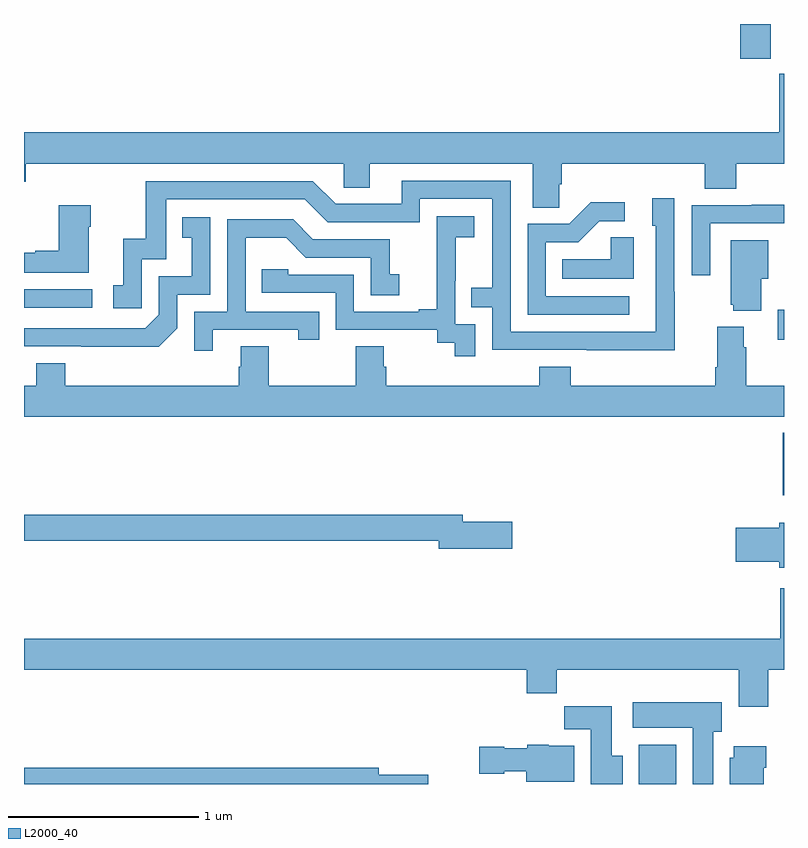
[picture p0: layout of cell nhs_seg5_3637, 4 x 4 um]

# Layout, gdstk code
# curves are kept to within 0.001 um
import gdstk
lib = gdstk.Library(unit=1e-6, precision=1e-09)
def R(c, l, rs):  # rectangles x0, y0, x1, y1
    for r in rs: c.add(gdstk.rectangle(r[:2], r[2:], *l))
def P(c, l, *ps):  # polygons
    for p in ps: c.add(gdstk.Polygon(p, *l))
L2000_40 = (2000, 40)

nhs_seg5_3637 = lib.new_cell('nhs_seg5_3637')
R(nhs_seg5_3637, L2000_40, [(328.235,882.799,328.432,883.006), (328.993,884.318,329,884.647), (328.967,885.138,329,885.294), (325,885.306,325.36,885.402), (328.769,886.617,328.929,886.799)])
P(nhs_seg5_3637, L2000_40, [(327.816,885.955),(327.83,885.955),(327.83,886.064),(328.583,886.064),(328.583,885.931),(328.748,885.931),(328.748,886.064),(329,886.064),(329,886.537),(328.976,886.537),(328.976,886.228),(325,886.228),(325,885.968),(325.01,885.968),(325.01,886.064),(326.682,886.064),(326.682,885.937),(326.821,885.937),(326.821,886.064),(327.677,886.064),(327.677,885.832),(327.816,885.832)],
  [(328.425,885.389),(328.422,885.389),(328.422,885.883),(328.307,885.883),(328.307,885.738),(328.326,885.738),(328.326,885.18),(327.561,885.18),(327.561,885.975),(326.987,885.975),(326.987,885.852),(326.64,885.852),(326.52,885.972),(325.641,885.972),(325.641,885.67),(325.523,885.67),(325.523,885.423),(325.47,885.423),(325.47,885.303),(325.62,885.303),(325.62,885.561),(325.749,885.561),(325.749,885.876),(326.478,885.876),(326.598,885.756),(327.084,885.756),(327.084,885.879),(327.465,885.879),(327.465,885.41),(327.355,885.41),(327.355,885.309),(327.465,885.309),(327.465,885.084),(328.425,885.083)],
  [(328.186,885.366),(327.747,885.366),(327.747,885.651),(327.916,885.651),(328.027,885.762),(328.162,885.762),(328.162,885.86),(327.983,885.86),(327.87,885.747),(327.651,885.747),(327.651,885.27),(328.186,885.27)],
  [(328.611,885.75),(329,885.75),(329,885.848),(328.831,885.848),(328.831,885.846),(328.515,885.846),(328.515,885.477),(328.611,885.477)],
  [(325.342,885.731),(325.35,885.731),(325.35,885.844),(325.184,885.844),(325.184,885.605),(325.058,885.605),(325.058,885.595),(325,885.595),(325,885.491),(325.342,885.491)],
  [(327.375,885.219),(327.27,885.219),(327.27,885.449),(327.272,885.449),(327.272,885.677),(327.37,885.677),(327.37,885.787),(327.172,885.787),(327.172,885.581),(327.173,885.581),(327.173,885.298),(327.077,885.298),(327.077,885.285),(326.736,885.285),(326.736,885.48),(326.391,885.48),(326.391,885.507),(326.251,885.507),(326.251,885.384),(326.64,885.384),(326.64,885.189),(327.174,885.189),(327.174,885.121),(327.267,885.121),(327.267,885.051),(327.375,885.051)],
  [(325.806,885.198),(325.806,885.375),(325.98,885.375),(325.98,885.781),(325.834,885.781),(325.834,885.675),(325.883,885.675),(325.883,885.471),(325.71,885.471),(325.71,885.27),(325.638,885.198),(325,885.198),(325,885.102),(325.708,885.101)],
  [(325.993,885.189),(326.444,885.189),(326.444,885.138),(326.555,885.138),(326.555,885.285),(326.166,885.285),(326.166,885.674),(326.38,885.674),(326.484,885.57),(326.826,885.57),(326.826,885.372),(326.974,885.372),(326.974,885.481),(326.925,885.481),(326.925,885.666),(326.521,885.666),(326.416,885.771),(326.07,885.771),(326.07,885.285),(325.896,885.285),(325.896,885.078),(325.993,885.078)],
  [(328.21,885.677),(328.089,885.677),(328.089,885.562),(327.832,885.562),(327.832,885.458),(328.21,885.458)],
  [(328.879,885.458),(328.918,885.458),(328.918,885.661),(328.721,885.661),(328.721,885.321),(328.733,885.321),(328.733,885.29),(328.879,885.29)],
  [(329,884.896),(328.802,884.896),(328.802,885.098),(328.789,885.098),(328.789,885.205),(328.649,885.205),(328.649,884.992),(328.637,884.992),(328.637,884.896),(327.878,884.896),(327.878,884.995),(327.713,884.995),(327.713,884.896),(326.906,884.896),(326.906,884.994),(326.893,884.994),(326.893,885.104),(326.746,885.104),(326.746,884.896),(326.289,884.896),(326.289,885.104),(326.141,885.104),(326.141,884.994),(326.129,884.994),(326.129,884.896),(325.217,884.896),(325.217,885.013),(325.064,885.013),(325.064,884.896),(325,884.896),(325,884.732),(329,884.732)],
  [(327.571,884.18),(327.31,884.18),(327.31,884.216),(325,884.216),(325,884.08),(327.182,884.08),(327.182,884.038),(327.571,884.038)],
  [(329,884.173),(328.976,884.173),(328.976,884.147),(328.746,884.147),(328.746,883.969),(328.976,883.969),(328.976,883.937),(329,883.937)],
  [(328.916,883.4),(329,883.4),(329,883.828),(328.979,883.828),(328.979,883.564),(325,883.564),(325,883.4),(327.647,883.4),(327.647,883.276),(327.803,883.276),(327.803,883.4),(328.763,883.4),(328.763,883.206),(328.916,883.206)],
  [(328.627,883.074),(328.672,883.074),(328.672,883.228),(328.203,883.228),(328.203,883.094),(328.52,883.094),(328.52,882.799),(328.627,882.799)],
  [(328.15,882.948),(328.093,882.948),(328.093,883.207),(327.844,883.207),(327.844,883.088),(327.983,883.088),(327.983,882.799),(328.15,882.799)],
  [(327.895,883),(327.762,883),(327.762,883.006),(327.648,883.006),(327.648,882.988),(327.528,882.988),(327.528,882.996),(327.396,882.996),(327.396,882.854),(327.528,882.854),(327.528,882.866),(327.644,882.866),(327.644,882.812),(327.895,882.812)],
  [(328.894,882.884),(328.907,882.884),(328.907,882.997),(328.736,882.997),(328.736,882.936),(328.715,882.936),(328.715,882.799),(328.894,882.799)],
  [(327.127,882.848),(326.866,882.848),(326.866,882.884),(325,882.884),(325,882.799),(327.127,882.799)])

lib.write_gds('nhs_seg5_3637.gds')
